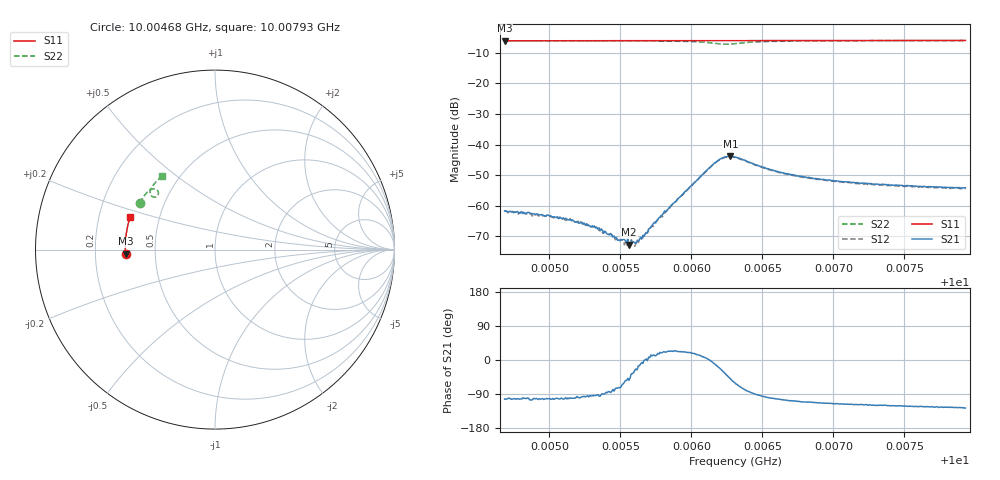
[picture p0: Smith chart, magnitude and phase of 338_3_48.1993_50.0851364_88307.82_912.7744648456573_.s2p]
#  HZ  S  RI  R  50.00
! Rohde & Schwarz Vector Network Analyzer
! Rohde-Schwarz,ZNB20-2Port,1311601062101988,3.16
! Created: UTC 3/20/2024, 11:51:11 AM
! freq[Hz]  re:S11  im:S11  re:S21  im:S21  re:S12  im:S12  re:S22  im:S22
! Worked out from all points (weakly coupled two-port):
!   401 points, 10.00468 GHz to 10.00793 GHz, reference 50 ohm
!   highest |S21| = -43.84 dB at 10.00627 GHz (marker M1); lowest = -72.8 dB at 10.00556 GHz (marker M2)
!   lowest |S11| = -6.0 dB at 10.00468 GHz (marker M3), VSWR 2.99, Z = 16.7 - j0.998 ohm
!   |S11| at or under -10 dB: nowhere
!   |S22| runs from -7.2 to -6.0 dB; largest |S21 - S12| = 0.00036
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1.0004685e10  -0.4985 -0.0224  -0.000186 -0.000801  -0.000137 -0.000794  -0.4198 0.2592
1.0005001e10  -0.4997 -0.00182  -0.000138 -0.000667  -0.00013 -0.000661  -0.4088 0.2781
1.0005228e10  -0.4999 0.0127  -6.39e-05 -0.00053  -3.02e-05 -0.000514  -0.3999 0.2915
1.0005334e10  -0.4999 0.0198  -1.83e-05 -0.00044  -1.05e-05 -0.000443  -0.3957 0.2978
1.0005439e10  -0.4998 0.0265  4.14e-05 -0.000321  5.75e-05 -0.000333  -0.3909 0.3041
1.000548e10  -0.4998 0.0291  7.25e-05 -0.000262  9.46e-05 -0.000264  -0.389 0.3067
1.0005504e10  -0.4997 0.0307  9e-05 -0.00026  0.000118 -0.000266  -0.3877 0.3082
1.0005536e10  -0.4997 0.0328  0.000153 -0.000211  0.000135 -0.000215  -0.3861 0.3102
1.0005545e10  -0.4996 0.0332  0.00015 -0.000204  0.000144 -0.000177  -0.3858 0.3108
1.0005561e10  -0.4996 0.0343  0.000136 -0.000184  0.000145 -0.000166  -0.3848 0.3118
1.0005618e10  -0.4995 0.0379  0.000236 -0.000116  0.000264 -8.92e-05  -0.3816 0.3152
1.0005674e10  -0.4993 0.0416  0.000343 1.22e-06  0.000331 2.19e-05  -0.3784 0.3188
1.0005772e10  -0.4988 0.0479  0.000609 0.000172  0.000552 0.000227  -0.3719 0.325
1.0006153e10  -0.4963 0.0725  0.00469 -0.000566  0.00467 -0.000335  -0.3191 0.3275
1.0006218e10  -0.4956 0.0764  0.0053 -0.00287  0.00535 -0.00256  -0.3162 0.3074
1.0006274e10  -0.4952 0.08  0.00414 -0.00492  0.00428 -0.00459  -0.3294 0.2935
1.0006307e10  -0.4951 0.0818  0.00306 -0.00548  0.00327 -0.00518  -0.3395 0.2922
1.0006607e10  -0.4925 0.1011  -0.000826 -0.00353  -0.00063 -0.00347  -0.3592 0.3337
1.000685e10  -0.4898 0.1166  -0.00104 -0.00265  -0.000917 -0.00262  -0.3482 0.3539
1.0007158e10  -0.4854 0.136  -0.00109 -0.0021  -0.000979 -0.00208  -0.3333 0.3724
1.0007394e10  -0.4816 0.1506  -0.00109 -0.00186  -0.00099 -0.00189  -0.3215 0.3845
1.0007929e10  -0.4711 0.1834  -0.00118 -0.00157  -0.00103 -0.00156  -0.2944 0.4088
